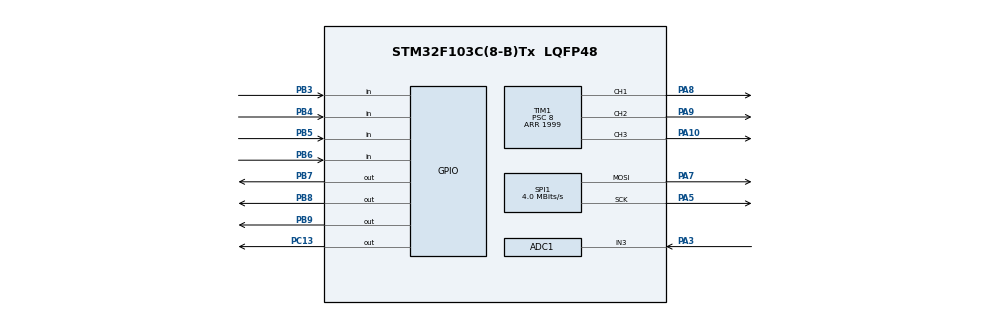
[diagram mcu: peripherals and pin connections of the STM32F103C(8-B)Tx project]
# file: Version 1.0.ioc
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ADC1.Channel-0\#ChannelRegularConversion=ADC_CHANNEL_3
ADC1.NbrOfConversionFlag=1
ADC1.Rank-0\#ChannelRegularConversion=1
ADC1.SamplingTime-0\#ChannelRegularConversion=ADC_SAMPLETIME_1CYCLE_5
ADC1.master=1
Mcu.Family=STM32F1
Mcu.Name=STM32F103C(8-B)Tx
Mcu.Package=LQFP48
NVIC.PriorityGroup=NVIC_PRIORITYGROUP_4
PA10.Signal=S_TIM1_CH3
PA13.Mode=Serial_Wire
PA13.Signal=SYS_JTMS-SWDIO
PA14.Mode=Serial_Wire
PA14.Signal=SYS_JTCK-SWCLK
PA3.Signal=ADCx_IN3
PA5.Mode=TX_Only_Simplex_Unidirect_Master
PA5.Signal=SPI1_SCK
PA7.Mode=TX_Only_Simplex_Unidirect_Master
PA7.Signal=SPI1_MOSI
PA8.Signal=S_TIM1_CH1
PA9.Signal=S_TIM1_CH2
PB3.Signal=GPIO_Input
PB4.Signal=GPIO_Input
PB5.Signal=GPIO_Input
PB6.Signal=GPIO_Input
PB7.Signal=GPIO_Output
PB8.Signal=GPIO_Output
PB9.Signal=GPIO_Output
PC13-TAMPER-RTC.Signal=GPIO_Output
PD0-OSC_IN.Mode=HSE-External-Oscillator
PD0-OSC_IN.Signal=RCC_OSC_IN
PD1-OSC_OUT.Mode=HSE-External-Oscillator
PD1-OSC_OUT.Signal=RCC_OSC_OUT
ProjectManager.HeapSize=0x200
ProjectManager.StackSize=0x400
ProjectManager.TargetToolchain=TrueSTUDIO
RCC.APB1Freq_Value=8000000
RCC.APB2Freq_Value=8000000
SH.ADCx_IN3.0=ADC1_IN3,IN3
SH.S_TIM1_CH1.0=TIM1_CH1,PWM Generation1 CH1
SH.S_TIM1_CH2.0=TIM1_CH2,PWM Generation2 CH2
SH.S_TIM1_CH3.0=TIM1_CH3,PWM Generation3 CH3
SPI1.CLKPhase=SPI_PHASE_2EDGE
SPI1.CLKPolarity=SPI_POLARITY_HIGH
SPI1.CalculateBaudRate=4.0 MBits/s
SPI1.Direction=SPI_DIRECTION_2LINES
SPI1.Mode=SPI_MODE_MASTER
SPI1.VirtualType=VM_MASTER
TIM1.Channel-PWM\ Generation1\ CH1=TIM_CHANNEL_1
TIM1.Channel-PWM\ Generation2\ CH2=TIM_CHANNEL_2
TIM1.Channel-PWM\ Generation3\ CH3=TIM_CHANNEL_3
TIM1.Period=1999
TIM1.Prescaler=8
board=Version 1.0

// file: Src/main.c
/**
  ******************************************************************************
  * File Name          : main.c
  * Description        : Main program body
  ******************************************************************************
  ** This notice applies to any and all portions of this file
  * that are not between comment pairs USER CODE BEGIN and
  * USER CODE END. Other portions of this file, whether
  * inserted by the user or by software development tools
  * are owned by their respective copyright owners.
  *
  * COPYRIGHT(c) 2017 STMicroelectronics
  *
  * Redistribution and use in source and binary forms, with or without modification,
  * are permitted provided that the following conditions are met:
  *   1. Redistributions of source code must retain the above copyright notice,
  *      this list of conditions and the following disclaimer.
  *   2. Redistributions in binary form must reproduce the above copyright notice,
  *      this list of conditions and the following disclaimer in the documentation
  *      and/or other materials provided with the distribution.
  *   3. Neither the name of STMicroelectronics nor the names of its contributors
  *      may be used to endorse or promote products derived from this software
  *      without specific prior written permission.
  *
  * THIS SOFTWARE IS PROVIDED BY THE COPYRIGHT HOLDERS AND CONTRIBUTORS "AS IS"
  * AND ANY EXPRESS OR IMPLIED WARRANTIES, INCLUDING, BUT NOT LIMITED TO, THE
  * IMPLIED WARRANTIES OF MERCHANTABILITY AND FITNESS FOR A PARTICULAR PURPOSE ARE
  * DISCLAIMED. IN NO EVENT SHALL THE COPYRIGHT HOLDER OR CONTRIBUTORS BE LIABLE
  * FOR ANY DIRECT, INDIRECT, INCIDENTAL, SPECIAL, EXEMPLARY, OR CONSEQUENTIAL
  * DAMAGES (INCLUDING, BUT NOT LIMITED TO, PROCUREMENT OF SUBSTITUTE GOODS OR
  * SERVICES; LOSS OF USE, DATA, OR PROFITS; OR BUSINESS INTERRUPTION) HOWEVER
  * CAUSED AND ON ANY THEORY OF LIABILITY, WHETHER IN CONTRACT, STRICT LIABILITY,
  * OR TORT (INCLUDING NEGLIGENCE OR OTHERWISE) ARISING IN ANY WAY OUT OF THE USE
  * OF THIS SOFTWARE, EVEN IF ADVISED OF THE POSSIBILITY OF SUCH DAMAGE.
  *
  ******************************************************************************
  */
#include "main.h"
#include "stm32f1xx_hal.h"
#include "adc.h"
#include "spi.h"
#include "tim.h"
#include "gpio.h"

/* USER CODE BEGIN PV */
/* Private variables ---------------------------------------------------------*/

/* USER CODE END PV */

void SystemClock_Config(void);

/* USER CODE BEGIN PFP */
/* Private function prototypes -----------------------------------------------*/

/* USER CODE END PFP */

int main(void)
{

  /* MCU Configuration----------------------------------------------------------*/

  /* Reset of all peripherals, Initializes the Flash interface and the Systick. */
  HAL_Init();

  /* Configure the system clock */
  SystemClock_Config();

  /* Initialize all configured peripherals */
  MX_GPIO_Init();
  MX_TIM1_Init();
  MX_ADC1_Init();
  MX_SPI1_Init();

  /* USER CODE BEGIN 2 */
  HAL_TIM_PWM_Start(&htim1, TIM_CHANNEL_1); // Inicializa os timers para geração da PWM nos pinos A8, A9, A10
  HAL_TIM_PWM_Start(&htim1, TIM_CHANNEL_2);
  HAL_TIM_PWM_Start(&htim1, TIM_CHANNEL_3);
  HAL_ADC_Start(&hadc1);
  int tecla = 0;
  int valorFinal = 0;
  /* USER CODE END 2 */

  /* Infinite loop */
  while (1)
  {

  /* USER CODE BEGIN 3 */

	  HAL_GPIO_WritePin (GPIOB, GPIO_PIN_7, GPIO_PIN_RESET);
	  HAL_GPIO_WritePin (GPIOB, GPIO_PIN_8, GPIO_PIN_SET);
	  HAL_GPIO_WritePin (GPIOB, GPIO_PIN_9, GPIO_PIN_SET);

	  if ((HAL_GPIO_ReadPin(GPIOB,GPIO_PIN_3))==GPIO_PIN_RESET){
		  tecla = tecla * 10;
		  tecla = tecla + 1;
	  	  }
	  if ((HAL_GPIO_ReadPin(GPIOB,GPIO_PIN_4))==GPIO_PIN_RESET){
		  tecla = tecla * 10;
		  tecla = tecla + 4;
	  	  }
	  if ((HAL_GPIO_ReadPin(GPIOB,GPIO_PIN_5))==GPIO_PIN_RESET){
		  tecla = tecla * 10;
		  tecla = tecla + 7;
	  	  }
	  if ((HAL_GPIO_ReadPin(GPIOB,GPIO_PIN_6))==GPIO_PIN_RESET){
		  tecla = 0;
		  tecla = tecla * 0;
		  valorFinal = 0;
		  valorFinal = valorFinal * 0;
	  }
/*
	  HAL_GPIO_WritePin (GPIOB, GPIO_PIN_7, GPIO_PIN_SET);
	  HAL_GPIO_WritePin (GPIOB, GPIO_PIN_8, GPIO_PIN_RESET);
	  HAL_GPIO_WritePin (GPIOB, GPIO_PIN_9, GPIO_PIN_SET);
	  for(int k=5;k>0;k--); //delay ler linhas
	  if (!(HAL_GPIO_ReadPin(GPIOB,GPIO_PIN_3))){
		  tecla = tecla * 10;
		  tecla = tecla + 2;
	  	  }
	  if (!(HAL_GPIO_ReadPin(GPIOB,GPIO_PIN_4))){
		  tecla = tecla * 10;
		  tecla = tecla + 5;
	  	  }
	  if (!(HAL_GPIO_ReadPin(GPIOB,GPIO_PIN_5))){
		  tecla = tecla * 10;
		  tecla = tecla + 8;
	  	  }
	  if (!(HAL_GPIO_ReadPin(GPIOB,GPIO_PIN_6))){
		  tecla = tecla * 10;
		  }

	  HAL_GPIO_WritePin (GPIOB, GPIO_PIN_7, GPIO_PIN_SET);
	  HAL_GPIO_WritePin (GPIOB, GPIO_PIN_8, GPIO_PIN_SET);
	  HAL_GPIO_WritePin (GPIOB, GPIO_PIN_9, GPIO_PIN_RESET);
	  for(int k=5;k>0;k--); //delay ler linhas
	  if (!(HAL_GPIO_ReadPin(GPIOB,GPIO_PIN_3))){
	  	  tecla = tecla * 10;
	  	  tecla = tecla + 3;
	   	  }
	  if (!(HAL_GPIO_ReadPin(GPIOB,GPIO_PIN_4))){
	  	  tecla = tecla * 10;
	  	  tecla = tecla + 6;
	   	  }
	  if (!(HAL_GPIO_ReadPin(GPIOB,GPIO_PIN_5))){
	  	  tecla = tecla * 10;
	  	  tecla = tecla + 9;
	   	  }
	  if (!(HAL_GPIO_ReadPin(GPIOB, GPIO_PIN_6))){
	  	  valorFinal = tecla;
	  	  tecla = 0;
	      }
	  if (valorFinal!=0){
		  for (int i = 0; i<valorFinal; i++) {
			  HAL_GPIO_TogglePin(GPIOC,GPIO_PIN_13);
			  HAL_Delay(600);
			  HAL_GPIO_TogglePin(GPIOC,GPIO_PIN_13);
			  HAL_Delay(600);
		  }
		  valorFinal=0;

	  }
	  /*
	  HAL_ADC_GetValue(&hadc1); // Pega o valor em um pino de entrada (PA3) e converte em bits (de 0 a 4095)
	  __HAL_TIM_SetCompare(&htim1, TIM_CHANNEL_1, 200); // Seta o servo 1 (Pino A8) para a posição aberto
	  for(int k=5;k>0;k--);
	  __HAL_TIM_SetCompare(&htim1, TIM_CHANNEL_2, 460); // Seta o servo 2 (Pino A9) para a posição aberto
	  for(int k=5;k>0;k--);
	  __HAL_TIM_SetCompare(&htim1, TIM_CHANNEL_3, 200); // Seta o servo 3 (Pino A10) para a posição aberto
	  for(int k=5;k>0;k--);
	  HAL_Delay(5000);

	 __HAL_TIM_SetCompare(&htim1, TIM_CHANNEL_1, 800); //Seta o servo 1 (Pino A8) para a posição fechado
	 for(int k=5;k>0;k--);
	 __HAL_TIM_SetCompare(&htim1, TIM_CHANNEL_2, 1300); //Seta o servo 2 (Pino A9) para a posição fechado
	 for(int k=5;k>0;k--);
	 __HAL_TIM_SetCompare(&htim1, TIM_CHANNEL_3, 1200); //Seta o servo 3 (Pino A10) para a posição fechado
	 for(int k=5;k>0;k--);
	 HAL_Delay(5000);
	*/

  }
  /* USER CODE END 3 */

}

/** System Clock Configuration
*/
void SystemClock_Config(void)
{

  RCC_OscInitTypeDef RCC_OscInitStruct;
  RCC_ClkInitTypeDef RCC_ClkInitStruct;
  RCC_PeriphCLKInitTypeDef PeriphClkInit;

    /**Initializes the CPU, AHB and APB busses clocks
    */
  RCC_OscInitStruct.OscillatorType = RCC_OSCILLATORTYPE_HSI;
  RCC_OscInitStruct.HSIState = RCC_HSI_ON;
  RCC_OscInitStruct.HSICalibrationValue = 16;
  RCC_OscInitStruct.PLL.PLLState = RCC_PLL_NONE;
  if (HAL_RCC_OscConfig(&RCC_OscInitStruct) != HAL_OK)
  {
    _Error_Handler(__FILE__, __LINE__);
  }

    /**Initializes the CPU, AHB and APB busses clocks
    */
  RCC_ClkInitStruct.ClockType = RCC_CLOCKTYPE_HCLK|RCC_CLOCKTYPE_SYSCLK
                              |RCC_CLOCKTYPE_PCLK1|RCC_CLOCKTYPE_PCLK2;
  RCC_ClkInitStruct.SYSCLKSource = RCC_SYSCLKSOURCE_HSI;
  RCC_ClkInitStruct.AHBCLKDivider = RCC_SYSCLK_DIV1;
  RCC_ClkInitStruct.APB1CLKDivider = RCC_HCLK_DIV1;
  RCC_ClkInitStruct.APB2CLKDivider = RCC_HCLK_DIV1;

  if (HAL_RCC_ClockConfig(&RCC_ClkInitStruct, FLASH_LATENCY_0) != HAL_OK)
  {
    _Error_Handler(__FILE__, __LINE__);
  }

  PeriphClkInit.PeriphClockSelection = RCC_PERIPHCLK_ADC;
  PeriphClkInit.AdcClockSelection = RCC_ADCPCLK2_DIV2;
  if (HAL_RCCEx_PeriphCLKConfig(&PeriphClkInit) != HAL_OK)
  {
    _Error_Handler(__FILE__, __LINE__);
  }

    /**Configure the Systick interrupt time
    */
  HAL_SYSTICK_Config(HAL_RCC_GetHCLKFreq()/1000);

    /**Configure the Systick
    */
  HAL_SYSTICK_CLKSourceConfig(SYSTICK_CLKSOURCE_HCLK);

  /* SysTick_IRQn interrupt configuration */
  HAL_NVIC_SetPriority(SysTick_IRQn, 0, 0);
}

/* USER CODE BEGIN 4 */
float calculo_resistencia(uint32_t input) { // calcula a resistência baseada na queda de tensão
	float volt, res = 0;
	volt = (3.3*input)/4095; // converte de bits para volts, assumindo uma tensão máxima de 3.3 V
	res = r1((3.3/volt) - 1); //r1 é a resistência fixa, quero usar uma de 10K Ohm
	return res; // res é a resistência que foi medida
}

/* USER CODE END 4 */

void _Error_Handler(char * file, int line)
{
  while(1)
  {
  }
}

/************************ (C) COPYRIGHT STMicroelectronics *****END OF FILE****/
